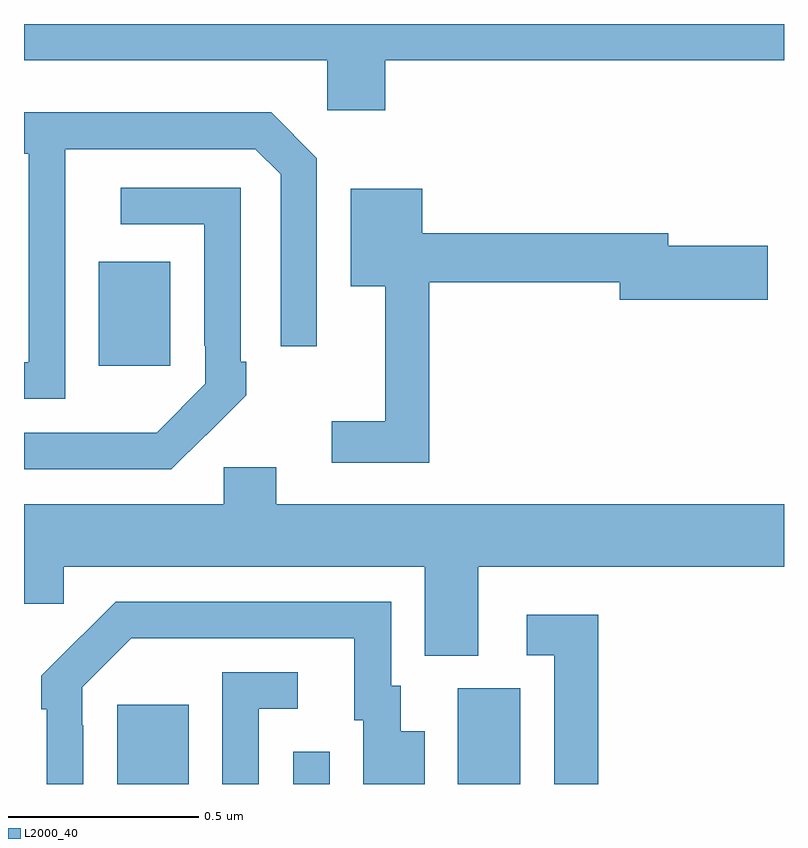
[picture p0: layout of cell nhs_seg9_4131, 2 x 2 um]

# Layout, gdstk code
import gdstk
lib = gdstk.Library(unit=1e-6, precision=1e-09)
def R(c, l, rs):  # rectangles x0, y0, x1, y1
    for r in rs: c.add(gdstk.rectangle(r[:2], r[2:], *l))
def P(c, l, *ps):  # polygons
    for p in ps: c.add(gdstk.Polygon(p, *l))
L2000_40 = (2000, 40)

nhs_seg9_4131 = lib.new_cell('nhs_seg9_4131')
R(nhs_seg9_4131, L2000_40, [(162.245,1210.5,162.433,1210.708), (162.708,1210.5,162.804,1210.585), (163.142,1210.5,163.306,1210.752), (162.197,1211.601,162.385,1211.875)])
P(nhs_seg9_4131, L2000_40, [(162.95,1212.404),(164,1212.404),(164,1212.5),(162,1212.5),(162,1212.404),(162.798,1212.404),(162.798,1212.273),(162.95,1212.273)],
  [(162.108,1211.971),(162.109,1211.971),(162.109,1212.171),(162.609,1212.171),(162.675,1212.105),(162.675,1211.652),(162.771,1211.652),(162.771,1212.147),(162.65,1212.268),(162,1212.268),(162,1212.158),(162.012,1212.158),(162.012,1211.61),(162,1211.61),(162,1211.514),(162.108,1211.514)],
  [(162.479,1211.419),(162.48,1211.418),(162.585,1211.523),(162.585,1211.611),(162.57,1211.611),(162.57,1212.069),(162.255,1212.069),(162.255,1211.973),(162.474,1211.973),(162.474,1211.653),(162.477,1211.653),(162.477,1211.553),(162.349,1211.425),(162.245,1211.425),(162.245,1211.424),(162,1211.424),(162,1211.328),(162.388,1211.328)],
  [(163.067,1211.821),(163.568,1211.821),(163.568,1211.774),(163.957,1211.774),(163.957,1211.916),(163.696,1211.916),(163.696,1211.95),(163.048,1211.95),(163.048,1212.067),(162.86,1212.067),(162.86,1211.81),(162.95,1211.81),(162.95,1211.455),(162.81,1211.455),(162.81,1211.346),(163.067,1211.346)],
  [(162.664,1211.334),(162.525,1211.334),(162.525,1211.236),(162,1211.236),(162,1210.974),(162.105,1210.974),(162.105,1211.072),(163.055,1211.072),(163.055,1210.837),(163.195,1210.837),(163.195,1211.072),(164,1211.072),(164,1211.236),(162.664,1211.236)],
  [(162.156,1210.655),(162.153,1210.655),(162.153,1210.755),(162.282,1210.884),(162.869,1210.884),(162.869,1210.668),(162.893,1210.668),(162.893,1210.5),(163.054,1210.5),(163.054,1210.639),(162.991,1210.639),(162.991,1210.758),(162.966,1210.758),(162.966,1210.98),(162.242,1210.98),(162.151,1210.889),(162.15,1210.89),(162.045,1210.785),(162.045,1210.697),(162.06,1210.697),(162.06,1210.5),(162.156,1210.5)],
  [(163.511,1210.945),(163.323,1210.945),(163.323,1210.839),(163.395,1210.839),(163.395,1210.5),(163.511,1210.5)],
  [(162.618,1210.698),(162.721,1210.698),(162.721,1210.794),(162.522,1210.794),(162.522,1210.5),(162.618,1210.5)])

lib.write_gds('nhs_seg9_4131.gds')
